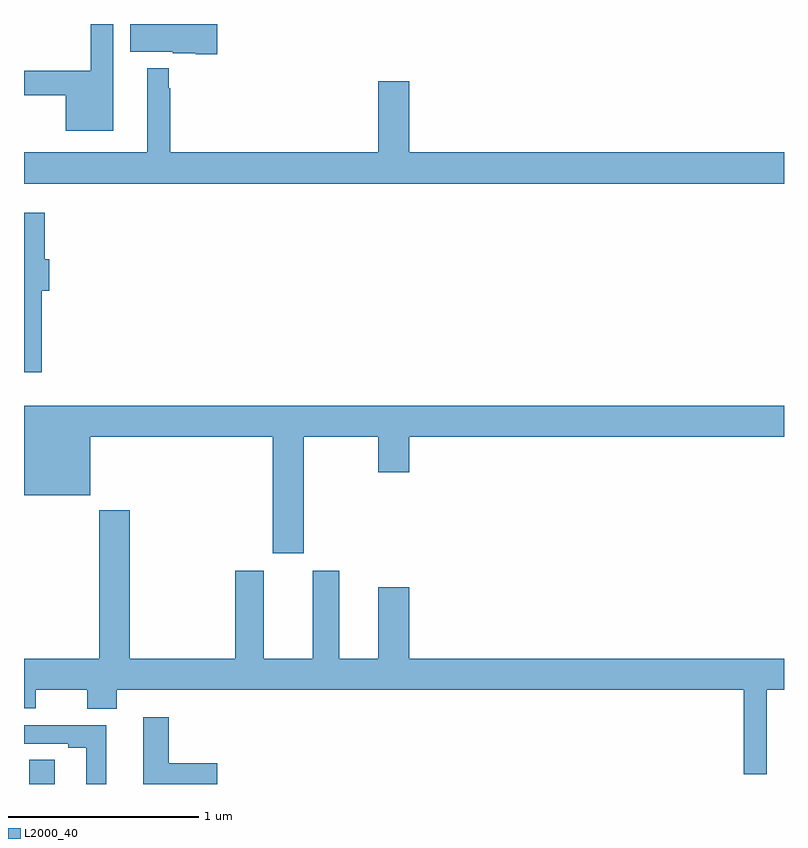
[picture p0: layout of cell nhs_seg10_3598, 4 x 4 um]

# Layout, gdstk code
import gdstk
lib = gdstk.Library(unit=1e-6, precision=1e-09)
def R(c, l, rs):  # rectangles x0, y0, x1, y1
    for r in rs: c.add(gdstk.rectangle(r[:2], r[2:], *l))
def P(c, l, *ps):  # polygons
    for p in ps: c.add(gdstk.Polygon(p, *l))
L2000_40 = (2000, 40)

nhs_seg10_3598 = lib.new_cell('nhs_seg10_3598')
R(nhs_seg10_3598, L2000_40, [(307.028,1286.5,307.162,1286.627)])
P(nhs_seg10_3598, L2000_40, [(307.471,1290.5),(307.35,1290.5),(307.35,1290.254),(307,1290.254),(307,1290.126),(307.22,1290.126),(307.22,1289.939),(307.471,1289.939)],
  [(308.017,1290.5),(307.559,1290.5),(307.559,1290.353),(307.782,1290.353),(307.782,1290.347),(307.904,1290.347),(307.904,1290.341),(308.017,1290.341)],
  [(311,1289.824),(309.028,1289.824),(309.028,1290.199),(308.864,1290.199),(308.864,1289.824),(307.771,1289.824),(307.771,1290.161),(307.763,1290.161),(307.763,1290.268),(307.649,1290.268),(307.649,1289.824),(307,1289.824),(307,1289.66),(311,1289.66)],
  [(307.094,1289.096),(307.133,1289.096),(307.133,1289.262),(307.109,1289.262),(307.109,1289.506),(307,1289.506),(307,1288.668),(307.094,1288.668)],
  [(308.473,1288.328),(308.864,1288.328),(308.864,1288.14),(309.028,1288.14),(309.028,1288.328),(311,1288.328),(311,1288.492),(307,1288.492),(307,1288.019),(307.348,1288.019),(307.348,1288.328),(308.309,1288.328),(308.309,1287.714),(308.473,1287.714)],
  [(310.909,1286.996),(311,1286.996),(311,1287.16),(309.028,1287.16),(309.028,1287.535),(308.864,1287.535),(308.864,1287.16),(308.659,1287.16),(308.659,1287.622),(308.519,1287.622),(308.519,1287.16),(308.263,1287.16),(308.263,1287.622),(308.111,1287.622),(308.111,1287.16),(307.556,1287.16),(307.556,1287.94),(307.396,1287.94),(307.396,1287.16),(307,1287.16),(307,1286.898),(307.063,1286.898),(307.063,1286.996),(307.334,1286.996),(307.334,1286.897),(307.487,1286.897),(307.487,1286.996),(310.788,1286.996),(310.788,1286.552),(310.909,1286.552)],
  [(308.017,1286.61),(307.763,1286.61),(307.763,1286.851),(307.628,1286.851),(307.628,1286.5),(308.017,1286.5)],
  [(307.432,1286.808),(307,1286.808),(307,1286.712),(307.232,1286.712),(307.232,1286.692),(307.328,1286.692),(307.328,1286.5),(307.432,1286.5)])

lib.write_gds('nhs_seg10_3598.gds')
